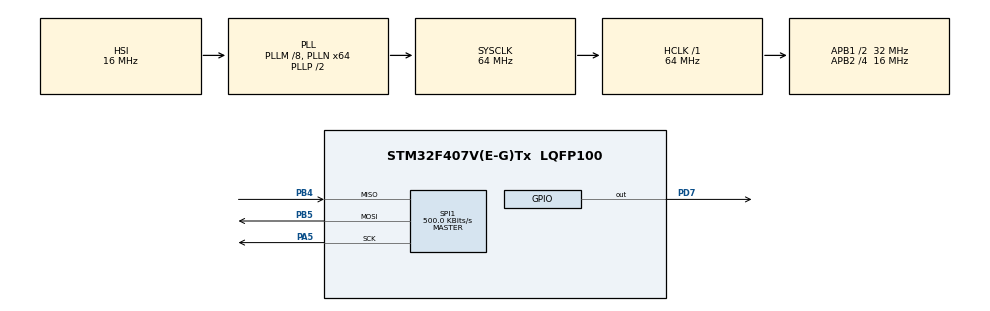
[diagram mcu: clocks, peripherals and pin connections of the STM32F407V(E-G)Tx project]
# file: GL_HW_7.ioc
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Mcu.Family=STM32F4
Mcu.Name=STM32F407V(E-G)Tx
Mcu.Package=LQFP100
NVIC.PriorityGroup=NVIC_PRIORITYGROUP_0
PA5.Mode=Full_Duplex_Master
PA5.Signal=SPI1_SCK
PB4.Mode=Full_Duplex_Master
PB4.Signal=SPI1_MISO
PB5.Mode=Full_Duplex_Master
PB5.Signal=SPI1_MOSI
PD7.Signal=GPIO_Output
ProjectManager.HeapSize=0x200
ProjectManager.StackSize=0x400
ProjectManager.TargetToolchain=STM32CubeIDE
RCC.48MHZClocksFreq_Value=18285714.285714287
RCC.AHBFreq_Value=64000000
RCC.APB1CLKDivider=RCC_HCLK_DIV2
RCC.APB1Freq_Value=32000000
RCC.APB1TimFreq_Value=64000000
RCC.APB2CLKDivider=RCC_HCLK_DIV4
RCC.APB2Freq_Value=16000000
RCC.APB2TimFreq_Value=32000000
RCC.CortexFreq_Value=64000000
RCC.HCLKFreq_Value=64000000
RCC.HSE_VALUE=8000000
RCC.HSI_VALUE=16000000
RCC.LSE_VALUE=32768
RCC.PLLM=8
RCC.PLLN=64
RCC.PLLQ=7
RCC.SYSCLKFreq_VALUE=64000000
RCC.SYSCLKSource=RCC_SYSCLKSOURCE_PLLCLK
RCC.VCOOutputFreq_Value=128000000
SPI1.BaudRatePrescaler=SPI_BAUDRATEPRESCALER_32
SPI1.CalculateBaudRate=500.0 KBits/s
SPI1.Direction=SPI_DIRECTION_2LINES
SPI1.Mode=SPI_MODE_MASTER
SPI1.VirtualType=VM_MASTER
board=STM32F407G-DISC1

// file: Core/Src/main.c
/* USER CODE BEGIN Header */
/**
  ******************************************************************************
  * @file           : main.c
  * @brief          : Main program body
  ******************************************************************************
  * @attention
  *
  * Copyright (c) 2023 STMicroelectronics.
  * All rights reserved.
  *
  * This software is licensed under terms that can be found in the LICENSE file
  * in the root directory of this software component.
  * If no LICENSE file comes with this software, it is provided AS-IS.
  *
  ******************************************************************************
  */
/* USER CODE END Header */
#include "main.h"

SPI_HandleTypeDef hspi1;

void SystemClock_Config(void);
static void MX_GPIO_Init(void);
static void MX_SPI1_Init(void);

int main(void)
{

  /* MCU Configuration--------------------------------------------------------*/

  /* Reset of all peripherals, Initializes the Flash interface and the Systick. */
  HAL_Init();

  /* Configure the system clock */
  SystemClock_Config();

  /* Initialize all configured peripherals */
  MX_GPIO_Init();
  MX_SPI1_Init();
  /* USER CODE BEGIN 2 */
  HAL_GPIO_WritePin(GPIOD, GPIO_PIN_7, GPIO_PIN_SET);
  uint8_t data = WRSR_NO_BLOCK_PROTECTION;
  editWRSR(&data);

  uint8_t from_to[18][50] = {
		  "From my heart, I leave this note,",
		  "Onward you'll go, with skills afloat,",
		  "Uncharted paths, you'll now explore,",
		  "Remembering what you've learned before,",
		  "To decode the message, you'll need to shift,",
		  "Out of the ordinary, it's quite a gift,",
		  "Try your best to crack the code,",
		  "Open it up, with the skills you've honed,",
		  "The Playfair cipher, a challenge to crack,",
		  "Hints of patterns, hidden in the stack,",
		  "Excitement builds, as you work to reveal,",
		  "Letters now forming, a message to feel.",
		  "Each moment counts, in this journey of life,",
		  "Finding your way, through joy and strife,",
		  "Take heart, and know you're not alone,",
		  "Enjoy the ride, and make this your own.",
		  "KVIEX NSF, TEP",
		  "Generated by GPT3(i`m lazy)"
  };

  uint32_t addr = 0x001000;
  for(uint32_t i = 0; i < 18; ++i)
  {
	  flashWrite(addr, from_to[i], sizeof(from_to[i]));
	  addr += 0x001000;
	  HAL_Delay(100);
  }

  HAL_Delay(1000);
  uint8_t page[256];
  addr = 0x000000;

  for(uint32_t i = 0; i < 19; ++i)
  {
	  flashRead(addr, page, sizeof(page));
	  addr += 0x001000;
	  HAL_Delay(100);
  }

  /* USER CODE END 2 */

  /* Infinite loop */
  while (1)
  {

  }
}

void SystemClock_Config(void)
{
  RCC_OscInitTypeDef RCC_OscInitStruct = {0};
  RCC_ClkInitTypeDef RCC_ClkInitStruct = {0};

  /** Configure the main internal regulator output voltage
  */
  __HAL_RCC_PWR_CLK_ENABLE();
  __HAL_PWR_VOLTAGESCALING_CONFIG(PWR_REGULATOR_VOLTAGE_SCALE1);

  /** Initializes the RCC Oscillators according to the specified parameters
  * in the RCC_OscInitTypeDef structure.
  */
  RCC_OscInitStruct.OscillatorType = RCC_OSCILLATORTYPE_HSI;
  RCC_OscInitStruct.HSIState = RCC_HSI_ON;
  RCC_OscInitStruct.HSICalibrationValue = RCC_HSICALIBRATION_DEFAULT;
  RCC_OscInitStruct.PLL.PLLState = RCC_PLL_ON;
  RCC_OscInitStruct.PLL.PLLSource = RCC_PLLSOURCE_HSI;
  RCC_OscInitStruct.PLL.PLLM = 8;
  RCC_OscInitStruct.PLL.PLLN = 64;
  RCC_OscInitStruct.PLL.PLLP = RCC_PLLP_DIV2;
  RCC_OscInitStruct.PLL.PLLQ = 7;
  if (HAL_RCC_OscConfig(&RCC_OscInitStruct) != HAL_OK)
  {
    Error_Handler();
  }

  /** Initializes the CPU, AHB and APB buses clocks
  */
  RCC_ClkInitStruct.ClockType = RCC_CLOCKTYPE_HCLK|RCC_CLOCKTYPE_SYSCLK
                              |RCC_CLOCKTYPE_PCLK1|RCC_CLOCKTYPE_PCLK2;
  RCC_ClkInitStruct.SYSCLKSource = RCC_SYSCLKSOURCE_PLLCLK;
  RCC_ClkInitStruct.AHBCLKDivider = RCC_SYSCLK_DIV1;
  RCC_ClkInitStruct.APB1CLKDivider = RCC_HCLK_DIV2;
  RCC_ClkInitStruct.APB2CLKDivider = RCC_HCLK_DIV4;

  if (HAL_RCC_ClockConfig(&RCC_ClkInitStruct, FLASH_LATENCY_2) != HAL_OK)
  {
    Error_Handler();
  }
}

static void MX_SPI1_Init(void)
{

  /* SPI1 parameter configuration*/
  hspi1.Instance = SPI1;
  hspi1.Init.Mode = SPI_MODE_MASTER;
  hspi1.Init.Direction = SPI_DIRECTION_2LINES;
  hspi1.Init.DataSize = SPI_DATASIZE_8BIT;
  hspi1.Init.CLKPolarity = SPI_POLARITY_LOW;
  hspi1.Init.CLKPhase = SPI_PHASE_1EDGE;
  hspi1.Init.NSS = SPI_NSS_SOFT;
  hspi1.Init.BaudRatePrescaler = SPI_BAUDRATEPRESCALER_32;
  hspi1.Init.FirstBit = SPI_FIRSTBIT_MSB;
  hspi1.Init.TIMode = SPI_TIMODE_DISABLE;
  hspi1.Init.CRCCalculation = SPI_CRCCALCULATION_DISABLE;
  hspi1.Init.CRCPolynomial = 10;
  if (HAL_SPI_Init(&hspi1) != HAL_OK)
  {
    Error_Handler();
  }

}

static void MX_GPIO_Init(void)
{
  GPIO_InitTypeDef GPIO_InitStruct = {0};

  /* GPIO Ports Clock Enable */
  __HAL_RCC_GPIOA_CLK_ENABLE();
  __HAL_RCC_GPIOD_CLK_ENABLE();
  __HAL_RCC_GPIOB_CLK_ENABLE();

  /*Configure GPIO pin Output Level */
  HAL_GPIO_WritePin(GPIOD, GPIO_PIN_7, GPIO_PIN_RESET);

  /*Configure GPIO pin : PD7 */
  GPIO_InitStruct.Pin = GPIO_PIN_7;
  GPIO_InitStruct.Mode = GPIO_MODE_OUTPUT_PP;
  GPIO_InitStruct.Pull = GPIO_NOPULL;
  GPIO_InitStruct.Speed = GPIO_SPEED_FREQ_LOW;
  HAL_GPIO_Init(GPIOD, &GPIO_InitStruct);

}

void Error_Handler(void)
{
  __disable_irq();
  while (1)
  {
  }
}
